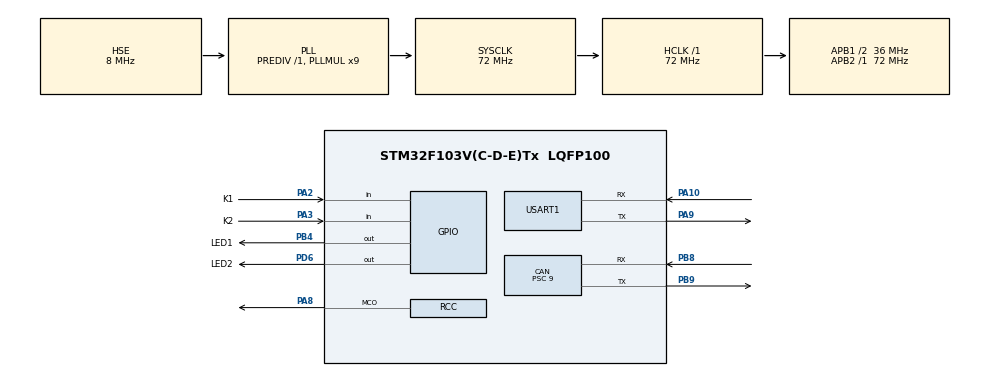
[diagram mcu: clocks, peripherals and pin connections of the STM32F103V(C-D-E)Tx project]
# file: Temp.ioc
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CAN.BS1=CAN_BS1_5TQ
CAN.BS2=CAN_BS2_2TQ
CAN.CalculateBaudRate=500000
CAN.CalculateTimeBit=2000
CAN.CalculateTimeQuantum=250.0
CAN.Mode=CAN_MODE_LOOPBACK
CAN.Prescaler=9
Mcu.Family=STM32F1
Mcu.Name=STM32F103V(C-D-E)Tx
Mcu.Package=LQFP100
NVIC.PriorityGroup=NVIC_PRIORITYGROUP_4
NVIC.USART1_IRQn=true\:0\:0\:false\:false\:true\:true\:true\:true
NVIC.USB_LP_CAN1_RX0_IRQn=true\:0\:0\:false\:false\:true\:true\:true\:true
OSC_IN.Mode=HSE-External-Oscillator
OSC_IN.Signal=RCC_OSC_IN
OSC_OUT.Mode=HSE-External-Oscillator
OSC_OUT.Signal=RCC_OSC_OUT
PA10.Mode=Asynchronous
PA10.Signal=USART1_RX
PA13.Mode=Serial_Wire
PA13.Signal=SYS_JTMS-SWDIO
PA14.Mode=Serial_Wire
PA14.Signal=SYS_JTCK-SWCLK
PA2.GPIO_Label=K1
PA2.Signal=GPIO_Input
PA3.GPIO_Label=K2
PA3.Signal=GPIO_Input
PA8.Mode=Clock-out
PA8.Signal=RCC_MCO
PA9.Mode=Asynchronous
PA9.Signal=USART1_TX
PB4.GPIO_Label=LED1
PB4.GPIO_ModeDefaultOutputPP=GPIO_MODE_OUTPUT_PP
PB4.GPIO_PuPd=GPIO_PULLUP
PB4.GPIO_Speed=GPIO_SPEED_FREQ_HIGH
PB4.PinState=GPIO_PIN_SET
PB4.Signal=GPIO_Output
PB8.Mode=CAN_Activate
PB8.Signal=CAN_RX
PB9.Mode=CAN_Activate
PB9.Signal=CAN_TX
PC14-OSC32_IN.Mode=LSE-External-Oscillator
PC14-OSC32_IN.Signal=RCC_OSC32_IN
PC15-OSC32_OUT.Mode=LSE-External-Oscillator
PC15-OSC32_OUT.Signal=RCC_OSC32_OUT
PD6.GPIO_Label=LED2
PD6.GPIO_ModeDefaultOutputPP=GPIO_MODE_OUTPUT_PP
PD6.GPIO_PuPd=GPIO_PULLUP
PD6.GPIO_Speed=GPIO_SPEED_FREQ_HIGH
PD6.PinState=GPIO_PIN_SET
PD6.Signal=GPIO_Output
ProjectManager.HeapSize=0x200
ProjectManager.StackSize=0x400
ProjectManager.TargetToolchain=Makefile
RCC.AHBFreq_Value=72000000
RCC.APB1CLKDivider=RCC_HCLK_DIV2
RCC.APB1Freq_Value=36000000
RCC.APB1TimFreq_Value=72000000
RCC.APB2Freq_Value=72000000
RCC.APB2TimFreq_Value=72000000
RCC.HCLKFreq_Value=72000000
RCC.PLLMUL=RCC_PLL_MUL9
RCC.PLLSourceVirtual=RCC_PLLSOURCE_HSE
RCC.RCC_MCOSource=RCC_MCO1SOURCE_PLLCLK
RCC.SYSCLKFreq_VALUE=72000000
RCC.SYSCLKSource=RCC_SYSCLKSOURCE_PLLCLK
RCC.USBFreq_Value=72000000
USART1.VirtualMode=VM_ASYNC
board=custom

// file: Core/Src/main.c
/* USER CODE BEGIN Header */
/**
 ******************************************************************************
 * @file           : main.c
 * @brief          : Main program body
 ******************************************************************************
 * @attention
 *
 * Copyright (c) 2025 STMicroelectronics.
 * All rights reserved.
 *
 * This software is licensed under terms that can be found in the LICENSE file
 * in the root directory of this software component.
 * If no LICENSE file comes with this software, it is provided AS-IS.
 *
 ******************************************************************************
 */
/* USER CODE END Header */
#include "main.h"

/* USER CODE BEGIN Includes */
#include "stdio.h" //printf函数�??
/* USER CODE END Includes */

/* USER CODE BEGIN PTD */
uint8_t rx_buff[100]; // 接收缓存
uint8_t rx_done = 0;  // 接收完成标志
uint8_t rx_cnt = 0;   // 接收数据长度
// CAN全局变量
CAN_TxHeaderTypeDef TxHeaderCAN;
CAN_RxHeaderTypeDef RxHeaderCAN;
uint8_t TxDataCAN[8], RxDataCAN[8];
uint8_t CAN_Rx_Flag = 0; // CAN接收标志
/* USER CODE END PTD */

CAN_HandleTypeDef hcan;

UART_HandleTypeDef huart1;

void SystemClock_Config(void);
static void MX_GPIO_Init(void);
static void MX_USART1_UART_Init(void);
static void MX_CAN_Init(void);
/* USER CODE BEGIN PFP */
void filter_init(void);
void CAN_Test(void);
/* USER CODE END PFP */

int main(void)
{

  /* MCU Configuration--------------------------------------------------------*/

  /* Reset of all peripherals, Initializes the Flash interface and the Systick. */
  HAL_Init();

  /* Configure the system clock */
  SystemClock_Config();

  /* Initialize all configured peripherals */
  MX_GPIO_Init();
  MX_USART1_UART_Init();
  MX_CAN_Init();
  /* USER CODE BEGIN 2 */
  filter_init();
  HAL_Delay(1000);
  CAN_Test();
  /* USER CODE END 2 */

  /* Infinite loop */
  while (1)
  {

    /* USER CODE BEGIN 3 */
    // 处理CAN接收数据
    if (CAN_Rx_Flag)
    {
      CAN_Rx_Flag = 0; // 清空CAN接收标志
      printf("CAN receive data\r\n");
      for (int i = 0; i < 8; i++)
        printf(" 0x%02x", RxDataCAN[i]);
      printf("\r\n");
    }
    if (rx_done == 1) // 判读是否接收完成
    {
      rx_done = 0; // 清除接收标志
      // 数据处理，打印接收长度接收的数据
      printf("length of rx data: %d!\r\n", rx_cnt);
      for (int i = 0; i < rx_cnt; i++)
        printf("%c", rx_buff[i]);
      printf("\r\n");

      rx_cnt = 0; // 清除接收长度
    }
    HAL_GPIO_TogglePin(LED1_GPIO_Port, LED1_Pin); // 切换亮灭
  }
  /* USER CODE END 3 */
}

void SystemClock_Config(void)
{
  RCC_OscInitTypeDef RCC_OscInitStruct = {0};
  RCC_ClkInitTypeDef RCC_ClkInitStruct = {0};

  /** Initializes the RCC Oscillators according to the specified parameters
  * in the RCC_OscInitTypeDef structure.
  */
  RCC_OscInitStruct.OscillatorType = RCC_OSCILLATORTYPE_HSE;
  RCC_OscInitStruct.HSEState = RCC_HSE_ON;
  RCC_OscInitStruct.HSEPredivValue = RCC_HSE_PREDIV_DIV1;
  RCC_OscInitStruct.HSIState = RCC_HSI_ON;
  RCC_OscInitStruct.PLL.PLLState = RCC_PLL_ON;
  RCC_OscInitStruct.PLL.PLLSource = RCC_PLLSOURCE_HSE;
  RCC_OscInitStruct.PLL.PLLMUL = RCC_PLL_MUL9;
  if (HAL_RCC_OscConfig(&RCC_OscInitStruct) != HAL_OK)
  {
    Error_Handler();
  }

  /** Initializes the CPU, AHB and APB buses clocks
  */
  RCC_ClkInitStruct.ClockType = RCC_CLOCKTYPE_HCLK|RCC_CLOCKTYPE_SYSCLK
                              |RCC_CLOCKTYPE_PCLK1|RCC_CLOCKTYPE_PCLK2;
  RCC_ClkInitStruct.SYSCLKSource = RCC_SYSCLKSOURCE_PLLCLK;
  RCC_ClkInitStruct.AHBCLKDivider = RCC_SYSCLK_DIV1;
  RCC_ClkInitStruct.APB1CLKDivider = RCC_HCLK_DIV2;
  RCC_ClkInitStruct.APB2CLKDivider = RCC_HCLK_DIV1;

  if (HAL_RCC_ClockConfig(&RCC_ClkInitStruct, FLASH_LATENCY_2) != HAL_OK)
  {
    Error_Handler();
  }
  HAL_RCC_MCOConfig(RCC_MCO, RCC_MCO1SOURCE_PLLCLK, RCC_MCODIV_1);
}

static void MX_CAN_Init(void)
{

  hcan.Instance = CAN1;
  hcan.Init.Prescaler = 9;
  hcan.Init.Mode = CAN_MODE_LOOPBACK;
  hcan.Init.SyncJumpWidth = CAN_SJW_1TQ;
  hcan.Init.TimeSeg1 = CAN_BS1_5TQ;
  hcan.Init.TimeSeg2 = CAN_BS2_2TQ;
  hcan.Init.TimeTriggeredMode = DISABLE;
  hcan.Init.AutoBusOff = DISABLE;
  hcan.Init.AutoWakeUp = DISABLE;
  hcan.Init.AutoRetransmission = DISABLE;
  hcan.Init.ReceiveFifoLocked = DISABLE;
  hcan.Init.TransmitFifoPriority = DISABLE;
  if (HAL_CAN_Init(&hcan) != HAL_OK)
  {
    Error_Handler();
  }
  /* USER CODE BEGIN CAN_Init 2 */
    //�?启中�?,FIFO 0接收消息中断
    HAL_CAN_ActivateNotification(&hcan,CAN_IT_RX_FIFO0_MSG_PENDING);
    HAL_CAN_Start(&hcan);
  /* USER CODE END CAN_Init 2 */

}

static void MX_USART1_UART_Init(void)
{

  huart1.Instance = USART1;
  huart1.Init.BaudRate = 115200;
  huart1.Init.WordLength = UART_WORDLENGTH_8B;
  huart1.Init.StopBits = UART_STOPBITS_1;
  huart1.Init.Parity = UART_PARITY_NONE;
  huart1.Init.Mode = UART_MODE_TX_RX;
  huart1.Init.HwFlowCtl = UART_HWCONTROL_NONE;
  huart1.Init.OverSampling = UART_OVERSAMPLING_16;
  if (HAL_UART_Init(&huart1) != HAL_OK)
  {
    Error_Handler();
  }
  /* USER CODE BEGIN USART1_Init 2 */
  // �??启接收中断，空闲中断
  __HAL_UART_ENABLE_IT(&huart1, UART_IT_IDLE | UART_IT_RXNE);
  /* USER CODE END USART1_Init 2 */

}

static void MX_GPIO_Init(void)
{
  GPIO_InitTypeDef GPIO_InitStruct = {0};

  /* GPIO Ports Clock Enable */
  __HAL_RCC_GPIOC_CLK_ENABLE();
  __HAL_RCC_GPIOA_CLK_ENABLE();
  __HAL_RCC_GPIOD_CLK_ENABLE();
  __HAL_RCC_GPIOB_CLK_ENABLE();

  /*Configure GPIO pin Output Level */
  HAL_GPIO_WritePin(LED2_GPIO_Port, LED2_Pin, GPIO_PIN_SET);

  /*Configure GPIO pin Output Level */
  HAL_GPIO_WritePin(LED1_GPIO_Port, LED1_Pin, GPIO_PIN_SET);

  /*Configure GPIO pins : K1_Pin K2_Pin */
  GPIO_InitStruct.Pin = K1_Pin|K2_Pin;
  GPIO_InitStruct.Mode = GPIO_MODE_INPUT;
  GPIO_InitStruct.Pull = GPIO_NOPULL;
  HAL_GPIO_Init(GPIOA, &GPIO_InitStruct);

  /*Configure GPIO pin : PA8 */
  GPIO_InitStruct.Pin = GPIO_PIN_8;
  GPIO_InitStruct.Mode = GPIO_MODE_AF_PP;
  GPIO_InitStruct.Speed = GPIO_SPEED_FREQ_LOW;
  HAL_GPIO_Init(GPIOA, &GPIO_InitStruct);

  /*Configure GPIO pin : LED2_Pin */
  GPIO_InitStruct.Pin = LED2_Pin;
  GPIO_InitStruct.Mode = GPIO_MODE_OUTPUT_PP;
  GPIO_InitStruct.Pull = GPIO_PULLUP;
  GPIO_InitStruct.Speed = GPIO_SPEED_FREQ_HIGH;
  HAL_GPIO_Init(LED2_GPIO_Port, &GPIO_InitStruct);

  /*Configure GPIO pin : LED1_Pin */
  GPIO_InitStruct.Pin = LED1_Pin;
  GPIO_InitStruct.Mode = GPIO_MODE_OUTPUT_PP;
  GPIO_InitStruct.Pull = GPIO_PULLUP;
  GPIO_InitStruct.Speed = GPIO_SPEED_FREQ_HIGH;
  HAL_GPIO_Init(LED1_GPIO_Port, &GPIO_InitStruct);

}

/* USER CODE BEGIN 4 */
#ifdef __GNUC__
#define PUTCHAR_PROTOTYPE int __io_putchar(int ch)
#else
#define PUTCHAR_PROTOTYPE int fputc(int ch, FILE *f)
#endif /* __GNUC__ */
// 重定向printf函数
PUTCHAR_PROTOTYPE
{
  HAL_UART_Transmit(&huart1, (uint8_t *)&ch, 1, HAL_MAX_DELAY); // 输出指向串口USART1
  return ch;
}void filter_init(void)
{
    HAL_StatusTypeDef HAL_Status;
    CAN_FilterTypeDef Filter0;
    Filter0.FilterBank = 1;//滤波器编�?
    Filter0.FilterMode = CAN_FILTERMODE_IDMASK;
    Filter0.FilterScale = CAN_FILTERSCALE_32BIT;
    Filter0.FilterIdHigh = 0x00;
    Filter0.FilterIdLow = 0x00;
    Filter0.FilterMaskIdHigh = 0x00;
    Filter0.FilterMaskIdLow = 0x00;
    Filter0.FilterFIFOAssignment = CAN_FILTER_FIFO0;
    Filter0.FilterActivation = CAN_FILTER_ENABLE;

    HAL_Status = HAL_CAN_ConfigFilter(&hcan,&Filter0);
    if(HAL_Status != HAL_OK)
    {
        printf("CAN Filter set Fail!code:%d\r\n",HAL_Status);
        Error_Handler();
    }
}
//重定义CAN接收中断回调函数
void HAL_CAN_RxFifo0MsgPendingCallback(CAN_HandleTypeDef *hcan)
{
    HAL_StatusTypeDef HAL_Status;
    if(hcan->Instance == CAN1)
    {
        HAL_Status = HAL_CAN_GetRxMessage(hcan,CAN_RX_FIFO0,&RxHeaderCAN,RxDataCAN);
        if(HAL_Status == HAL_OK)
        {
            //处理接收数据
            CAN_Rx_Flag = 1;
        }
    }
}
void CAN_Test(void)
{
    //发�?�数据CAN
    TxHeaderCAN.ExtId = 0x1800F001;
    TxHeaderCAN.DLC = 8;
    TxHeaderCAN.IDE = CAN_ID_STD;
    TxHeaderCAN.RTR = CAN_RTR_DATA;
    TxHeaderCAN.StdId = 0x01;
    TxHeaderCAN.TransmitGlobalTime = ENABLE;

    uint32_t TxMailBox;
    HAL_StatusTypeDef HAL_Status;
    printf("\r\n\r\n------------------CAN test------------------\r\n\r\n");
    for (int i = 0; i < 8; ++i) TxDataCAN[i] = i;
    printf("CAN send data\r\n");
    for (int i = 0; i < 8; ++i) printf(" 0x%02x",TxDataCAN[i]);
    printf("\r\n");
    HAL_CAN_AddTxMessage(&hcan,&TxHeaderCAN,TxDataCAN,&TxMailBox);

}
/* USER CODE END 4 */

void Error_Handler(void)
{
  __disable_irq();
  while (1)
  {
  }
}
